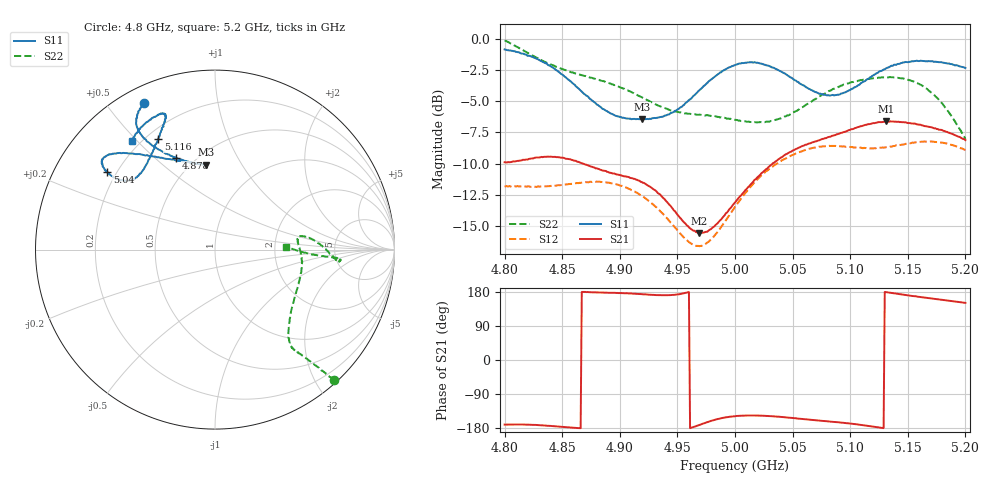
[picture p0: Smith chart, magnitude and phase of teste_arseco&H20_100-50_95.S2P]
! Network Analyzer HP8722D
! Hewlett-Packard
! Data name: Linha & Wilkinson
! Saver's name: Rodrigo Anjos
! Comments: Teste da utilização de aquisição
! continua pelo VNA HP8722D
! Time and date: 6/5/2025 13:21
!  Frequency  S11  S21  S12  S22
# HZ  S  MA R 50
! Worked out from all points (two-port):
!   401 points, 4.8 GHz to 5.2 GHz, reference 50 ohm
!   highest |S21| = -6.61 dB at 5.131 GHz (marker M1); lowest = -15.5 dB at 4.969 GHz (marker M2)
!   |S21| within 3 dB of the highest: 4.822 GHz to 4.854 GHz (32.09 MHz wide, 0.663 % of centre); 5.038 GHz to end of sweep
!   lowest |S11| = -6.5 dB at 4.919 GHz (marker M3), VSWR 2.81, Z = 29.1 + j35.6 ohm
!   |S11| at or under -10 dB: nowhere
!   |S22| runs from -8.0 to -0.1 dB; largest |S21 - S12| = 0.83
!   S11 on the Smith chart (normalised r, x): 4.8 GHz: 0.07, +0.63; 4.878 GHz: 0.40, +0.59; 5.04 GHz: 0.16, +0.31; 5.116 GHz: 0.25, +0.58; 5.2 GHz: 0.17, +0.48
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4.8e9  0.906 115.8  0.3205 -170.5  0.2569 -86.1  0.984 -47.5
4.835e9  0.7997 122.5  0.3369 -173.0  0.2566 -76.6  0.8081 -49.8
4.867e9  0.615 117.9  0.3177 179.6  0.2656 -67.4  0.7151 -51.6
4.878e9  0.5558 113.0  0.3053 178.5  0.2671 -66.0  0.6919 -52.0
4.901e9  0.4864 100.7  0.2843 176.6  0.258 -66.8  0.6366 -50.0
4.919e9  0.4751 96.2  0.2673 173.9  0.235 -68.7  0.5835 -44.8
4.934e9  0.4848 99.2  0.2398 171.1  0.2071 -69.4  0.5385 -37.4
4.95e9  0.5208 109.4  0.1978 172.9  0.1712 -65.6  0.5097 -27.0
4.969e9  0.6216 123.5  0.1671 -171.7  0.148 -47.9  0.4972 -15.1
4.981e9  0.6967 130.1  0.1762 -159.3  0.1606 -33.9  0.4893 -8.8
5e9  0.7843 137.3  0.2215 -148.5  0.2128 -21.5  0.4738 -0.3
5.019e9  0.8009 141.8  0.2777 -146.8  0.2724 -18.4  0.4626 5.8
5.04e9  0.7395 144.2  0.335 -150.2  0.3243 -18.4  0.4805 9.0
5.067e9  0.6216 142.0  0.3848 -158.1  0.3653 -20.6  0.5626 4.6
5.088e9  0.5955 132.9  0.414 -163.9  0.3719 -23.8  0.6368 -1.7
5.116e9  0.6918 117.1  0.4553 -174.1  0.3645 -26.8  0.6904 -5.3
5.131e9  0.7607 111.8  0.4674 179.1  0.3677 -28.4  0.6997 -5.1
5.134e9  0.7699 111.1  0.466 177.8  0.3692 -28.8  0.7017 -4.7
5.147e9  0.8039 110.1  0.4629 172.0  0.3781 -31.3  0.6911 -4.0
5.162e9  0.8154 113.0  0.4506 165.9  0.3873 -35.4  0.6515 -3.8
5.179e9  0.8053 118.5  0.432 159.1  0.3841 -40.7  0.5554 -3.0
5.2e9  0.7639 127.3  0.3932 150.8  0.3586 -46.4  0.397 2.5
